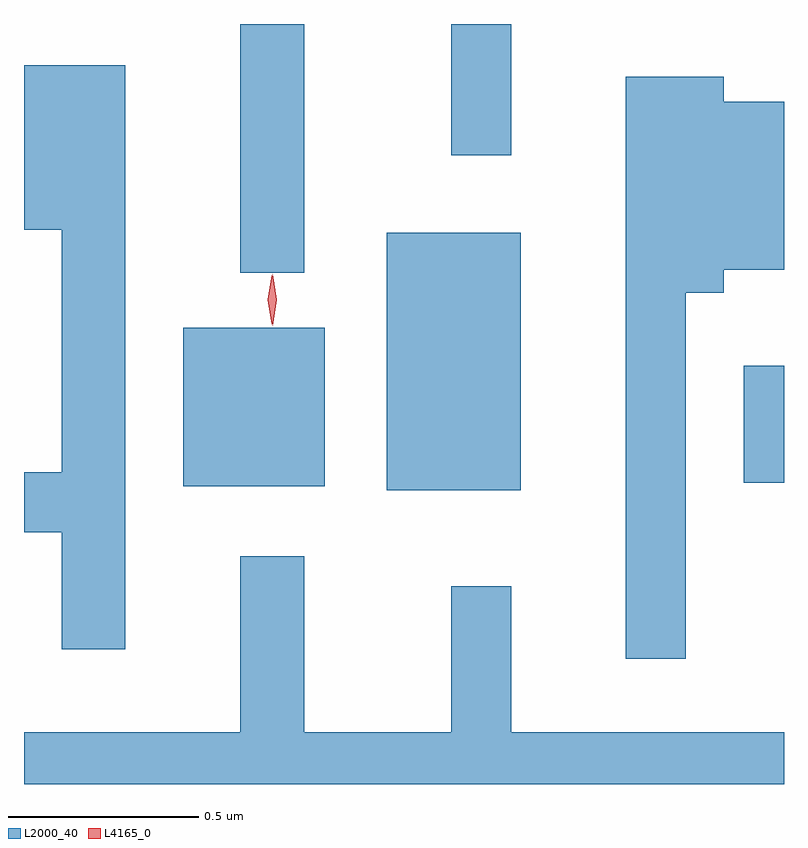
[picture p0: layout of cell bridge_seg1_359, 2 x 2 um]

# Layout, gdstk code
import gdstk
lib = gdstk.Library(unit=1e-6, precision=1e-09)
def R(c, l, rs):  # rectangles x0, y0, x1, y1
    for r in rs: c.add(gdstk.rectangle(r[:2], r[2:], *l))
def P(c, l, *ps):  # polygons
    for p in ps: c.add(gdstk.Polygon(p, *l))
L2000_40 = (2000, 40)
L4165_0 = (4165, 0)

bridge_seg1_359 = lib.new_cell('bridge_seg1_359')
R(bridge_seg1_359, L2000_40, [(900.526,887.161,900.879,887.839), (899.991,887.171,900.364,887.589), (901.466,887.181,901.572,887.489), (900.141,887.733,900.309,888.388), (900.696,888.043,900.854,888.388)])
P(bridge_seg1_359, L2000_40, [(899.839,888.279),(899.572,888.279),(899.572,887.846),(899.671,887.846),(899.671,887.209),(899.572,887.209),(899.572,887.051),(899.671,887.051),(899.671,886.743),(899.839,886.743)],
  [(901.314,887.681),(901.414,887.681),(901.414,887.741),(901.572,887.741),(901.572,888.184),(901.414,888.184),(901.414,888.249),(901.156,888.249),(901.156,886.718),(901.314,886.718)],
  [(901.572,886.524),(900.854,886.524),(900.854,886.908),(900.696,886.908),(900.696,886.524),(900.309,886.524),(900.309,886.988),(900.141,886.988),(900.141,886.524),(899.572,886.524),(899.572,886.388),(901.572,886.388)])
P(bridge_seg1_359, L4165_0, [(900.226,887.594),(900.217,887.662),(900.226,887.73),(900.227,887.73),(900.227,887.73),(900.237,887.662),(900.227,887.594),(900.227,887.594)],
  [(900.224,887.598),(900.224,887.598),(900.214,887.663),(900.224,887.727),(900.224,887.727),(900.224,887.727),(900.234,887.663),(900.224,887.598)])

lib.write_gds('bridge_seg1_359.gds')
